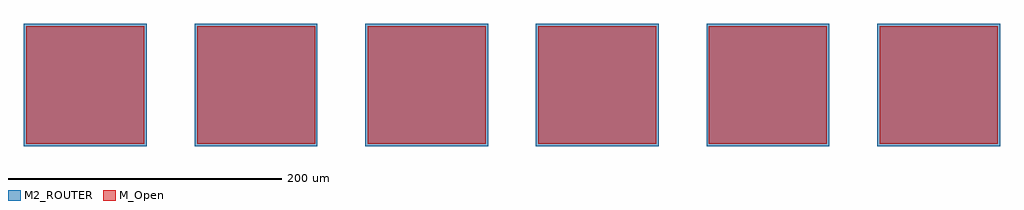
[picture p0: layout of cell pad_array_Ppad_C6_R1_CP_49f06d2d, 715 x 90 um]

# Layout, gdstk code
import gdstk
lib = gdstk.Library(unit=1e-6, precision=1e-09)
def R(c, l, rs):  # rectangles x0, y0, x1, y1
    for r in rs: c.add(gdstk.rectangle(r[:2], r[2:], *l))
M2_ROUTER = (12, 0)
M_Open = (13, 0)

pad_s90_90_lmtop_pi0_po_ = lib.new_cell('pad_S90_90_LMTOP_PI0_PO_3979dc5b')
R(pad_s90_90_lmtop_pi0_po_, M2_ROUTER, [(-45,-45,45,45)])
R(pad_s90_90_lmtop_pi0_po_, M_Open, [(-43.2,-43.2,43.2,43.2)])

pad_array_ppad_c6_r1_cp_ = lib.new_cell('pad_array_Ppad_C6_R1_CP_49f06d2d')
r = gdstk.Reference(pad_s90_90_lmtop_pi0_po_, (0,0)); r.repetition = gdstk.Repetition(6, 1, v1=(125,0), v2=(0,0)); pad_array_ppad_c6_r1_cp_.add(r)

lib.write_gds('pad_array_Ppad_C6_R1_CP_49f06d2d.gds')
